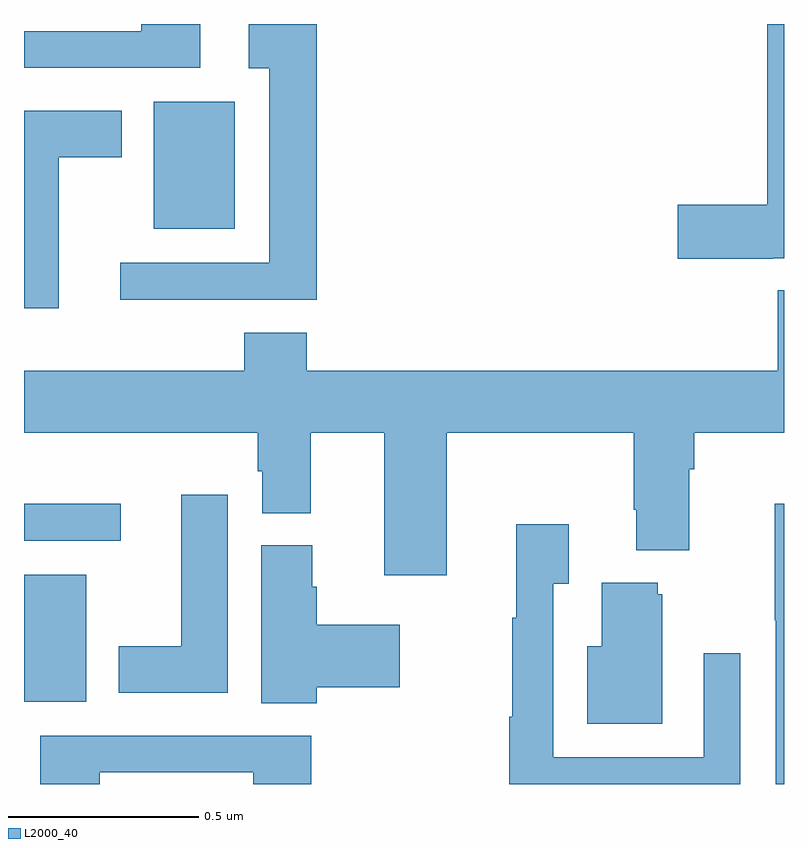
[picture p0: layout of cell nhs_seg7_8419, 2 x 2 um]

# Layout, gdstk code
import gdstk
lib = gdstk.Library(unit=1e-6, precision=1e-09)
def R(c, l, rs):  # rectangles x0, y0, x1, y1
    for r in rs: c.add(gdstk.rectangle(r[:2], r[2:], *l))
def P(c, l, *ps):  # polygons
    for p in ps: c.add(gdstk.Polygon(p, *l))
L2000_40 = (2000, 40)

nhs_seg7_8419 = lib.new_cell('nhs_seg7_8419')
R(nhs_seg7_8419, L2000_40, [(224,1025.216,224.164,1025.551), (224,1025.64,224.254,1025.738), (224.342,1026.461,224.554,1026.796)])
P(nhs_seg7_8419, L2000_40, [(224.771,1027),(224.591,1027),(224.591,1026.884),(224.645,1026.884),(224.645,1026.372),(224.253,1026.372),(224.253,1026.275),(224.771,1026.275)],
  [(224.464,1027),(224.308,1027),(224.308,1026.981),(224,1026.981),(224,1026.885),(224.464,1026.885)],
  [(225.972,1026.384),(226,1026.384),(226,1027),(225.956,1027),(225.956,1026.524),(225.72,1026.524),(225.72,1026.382),(225.972,1026.382)],
  [(224.092,1026.65),(224.257,1026.65),(224.257,1026.772),(224,1026.772),(224,1026.252),(224.092,1026.252)],
  [(225.112,1025.924),(225.604,1025.924),(225.604,1025.722),(225.611,1025.722),(225.611,1025.615),(225.751,1025.615),(225.751,1025.828),(225.764,1025.828),(225.764,1025.924),(226,1025.924),(226,1026.299),(225.983,1026.299),(225.983,1026.088),(224.744,1026.088),(224.744,1026.187),(224.579,1026.187),(224.579,1026.088),(224,1026.088),(224,1025.924),(224.615,1025.924),(224.615,1025.823),(224.627,1025.823),(224.627,1025.713),(224.755,1025.713),(224.755,1025.924),(224.948,1025.924),(224.948,1025.55),(225.112,1025.55)],
  [(224.536,1025.761),(224.414,1025.761),(224.414,1025.362),(224.249,1025.362),(224.249,1025.24),(224.536,1025.24)],
  [(226,1025.738),(225.976,1025.738),(225.976,1025.431),(225.978,1025.431),(225.978,1025),(226,1025)],
  [(225.885,1025.344),(225.789,1025.344),(225.789,1025.07),(225.393,1025.07),(225.393,1025.527),(225.433,1025.527),(225.433,1025.683),(225.296,1025.683),(225.296,1025.438),(225.285,1025.438),(225.285,1025.177),(225.277,1025.177),(225.277,1025),(225.885,1025)],
  [(224.771,1025.254),(224.989,1025.254),(224.989,1025.419),(224.771,1025.419),(224.771,1025.519),(224.758,1025.519),(224.758,1025.628),(224.624,1025.628),(224.624,1025.212),(224.771,1025.212)],
  [(225.679,1025.499),(225.668,1025.499),(225.668,1025.53),(225.521,1025.53),(225.521,1025.362),(225.482,1025.362),(225.482,1025.159),(225.679,1025.159)],
  [(224.199,1025.031),(224.603,1025.031),(224.603,1025),(224.756,1025),(224.756,1025.127),(224.043,1025.127),(224.043,1025),(224.199,1025)])

lib.write_gds('nhs_seg7_8419.gds')
